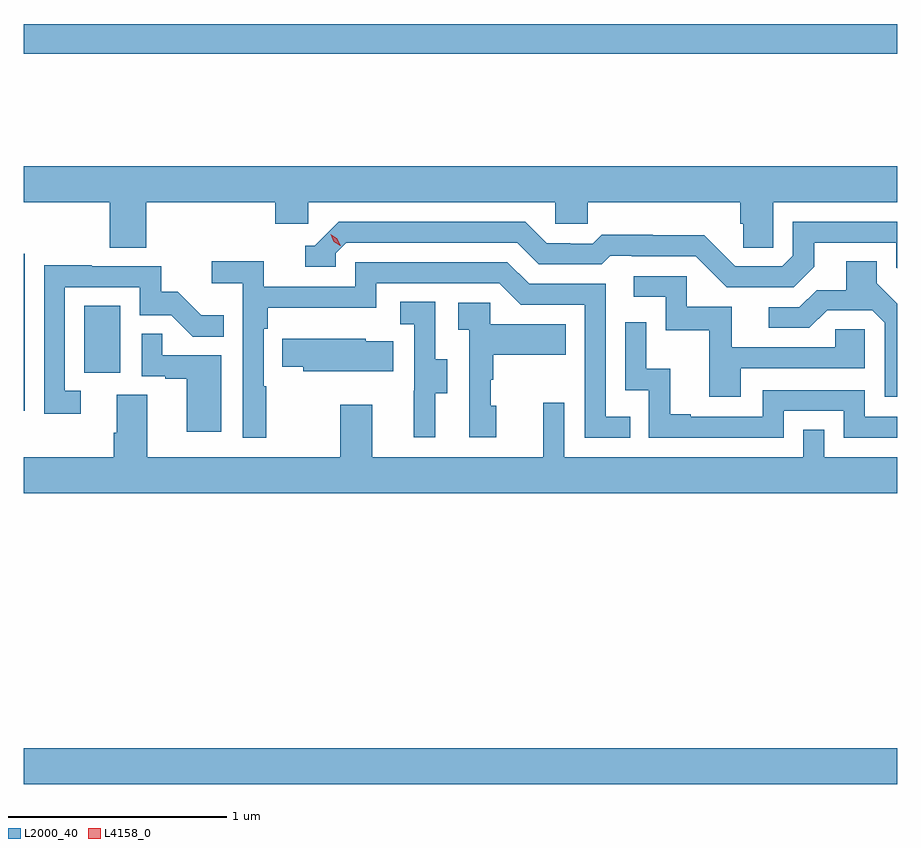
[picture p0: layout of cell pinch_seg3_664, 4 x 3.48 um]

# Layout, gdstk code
import gdstk
lib = gdstk.Library(unit=1e-6, precision=1e-09)
def R(c, l, rs):  # rectangles x0, y0, x1, y1
    for r in rs: c.add(gdstk.rectangle(r[:2], r[2:], *l))
def P(c, l, *ps):  # polygons
    for p in ps: c.add(gdstk.Polygon(p, *l))
L2000_40 = (2000, 40)
L4158_0 = (4158, 0)

pinch_seg3_664 = lib.new_cell('pinch_seg3_664')
R(pinch_seg3_664, L2000_40, [(1077.684,668.948,1081.684,669.112), (1077.684,670.656,1077.688,671.377), (1077.962,670.83,1078.126,671.137), (1077.684,672.292,1081.684,672.428)])
P(pinch_seg3_664, L2000_40, [(1078.244,671.612),(1078.835,671.612),(1078.835,671.514),(1078.986,671.514),(1078.986,671.612),(1080.117,671.612),(1080.117,671.514),(1080.267,671.514),(1080.267,671.612),(1080.965,671.612),(1080.965,671.514),(1080.979,671.514),(1080.979,671.404),(1081.116,671.404),(1081.116,671.612),(1081.684,671.612),(1081.684,671.776),(1077.684,671.776),(1077.684,671.612),(1078.079,671.612),(1078.079,671.404),(1078.244,671.404)],
  [(1081.303,671.317),(1081.303,671.427),(1081.68,671.427),(1081.68,671.313),(1081.684,671.309),(1081.684,671.523),(1081.206,671.523),(1081.206,671.367),(1081.158,671.319),(1080.942,671.319),(1080.8,671.461),(1080.564,671.461),(1080.564,671.464),(1080.331,671.464),(1080.289,671.421),(1080.186,671.421),(1080.186,671.424),(1080.079,671.424),(1079.98,671.523),(1079.127,671.523),(1079.016,671.412),(1078.973,671.412),(1078.973,671.316),(1079.112,671.316),(1079.112,671.379),(1079.16,671.427),(1079.943,671.427),(1080.042,671.328),(1080.331,671.328),(1080.37,671.367),(1080.469,671.367),(1080.469,671.364),(1080.762,671.364),(1080.903,671.223),(1081.209,671.223)],
  [(1081.684,671.147),(1081.591,671.24),(1081.591,671.342),(1081.451,671.342),(1081.451,671.21),(1081.316,671.21),(1081.236,671.13),(1081.095,671.13),(1081.095,671.037),(1081.282,671.037),(1081.363,671.118),(1081.569,671.118),(1081.626,671.061),(1081.626,670.722),(1081.684,670.722)],
  [(1078.795,670.769),(1078.782,670.769),(1078.782,671.033),(1078.801,671.033),(1078.801,671.129),(1079.298,671.129),(1079.298,671.241),(1079.862,671.241),(1079.961,671.142),(1080.252,671.142),(1080.252,670.533),(1080.461,670.533),(1080.461,670.629),(1080.348,670.629),(1080.348,671.238),(1079.998,671.238),(1079.899,671.337),(1079.202,671.337),(1079.202,671.226),(1078.784,671.226),(1078.784,671.342),(1078.545,671.342),(1078.545,671.24),(1078.686,671.24),(1078.686,670.533),(1078.795,670.533)],
  [(1077.946,670.749),(1077.873,670.749),(1077.873,671.223),(1078.215,671.223),(1078.215,671.094),(1078.359,671.094),(1078.457,670.996),(1078.601,670.996),(1078.601,671.095),(1078.497,671.095),(1078.39,671.202),(1078.314,671.202),(1078.314,671.319),(1077.995,671.319),(1077.995,671.324),(1077.777,671.324),(1077.777,670.644),(1077.946,670.644)],
  [(1080.967,670.851),(1081.536,670.851),(1081.536,671.031),(1081.399,671.031),(1081.399,670.947),(1080.925,670.947),(1080.925,671.133),(1080.72,671.133),(1080.72,671.274),(1080.477,671.274),(1080.477,671.178),(1080.624,671.178),(1080.624,671.025),(1080.823,671.025),(1080.823,670.722),(1080.967,670.722)],
  [(1079.569,670.738),(1079.623,670.738),(1079.623,670.893),(1079.568,670.893),(1079.568,671.156),(1079.409,671.156),(1079.409,671.053),(1079.472,671.053),(1079.472,670.749),(1079.471,670.749),(1079.471,670.536),(1079.569,670.536)],
  [(1079.848,670.68),(1079.823,670.68),(1079.823,670.799),(1079.833,670.799),(1079.833,670.913),(1080.167,670.913),(1080.167,671.053),(1079.82,671.053),(1079.82,671.151),(1079.673,671.151),(1079.673,671.027),(1079.724,671.027),(1079.724,670.536),(1079.848,670.536)],
  [(1081.164,670.656),(1081.44,670.656),(1081.44,670.533),(1081.684,670.533),(1081.684,670.629),(1081.536,670.629),(1081.536,670.752),(1081.068,670.752),(1081.068,670.629),(1080.739,670.629),(1080.739,670.642),(1080.644,670.642),(1080.644,670.85),(1080.534,670.85),(1080.534,671.062),(1080.438,671.062),(1080.438,670.752),(1080.546,670.752),(1080.546,670.533),(1081.164,670.533)],
  [(1078.588,670.911),(1078.319,670.911),(1078.319,671.009),(1078.224,671.009),(1078.224,670.815),(1078.331,670.815),(1078.331,670.803),(1078.43,670.803),(1078.43,670.56),(1078.588,670.56)],
  [(1079.375,670.975),(1079.25,670.975),(1079.25,670.987),(1078.867,670.987),(1078.867,670.858),(1078.965,670.858),(1078.965,670.838),(1079.375,670.838)],
  [(1081.684,670.444),(1081.35,670.444),(1081.35,670.571),(1081.254,670.571),(1081.254,670.444),(1080.159,670.444),(1080.159,670.693),(1080.062,670.693),(1080.062,670.444),(1079.281,670.444),(1079.281,670.684),(1079.134,670.684),(1079.134,670.444),(1078.249,670.444),(1078.249,670.73),(1078.109,670.73),(1078.109,670.556),(1078.097,670.556),(1078.097,670.444),(1077.684,670.444),(1077.684,670.28),(1081.684,670.28)])
P(pinch_seg3_664, L4158_0, [(1079.134,671.412),(1079.104,671.432),(1079.089,671.465),(1079.089,671.465),(1079.089,671.465),(1079.119,671.445),(1079.135,671.412),(1079.135,671.412)])

lib.write_gds('pinch_seg3_664.gds')
